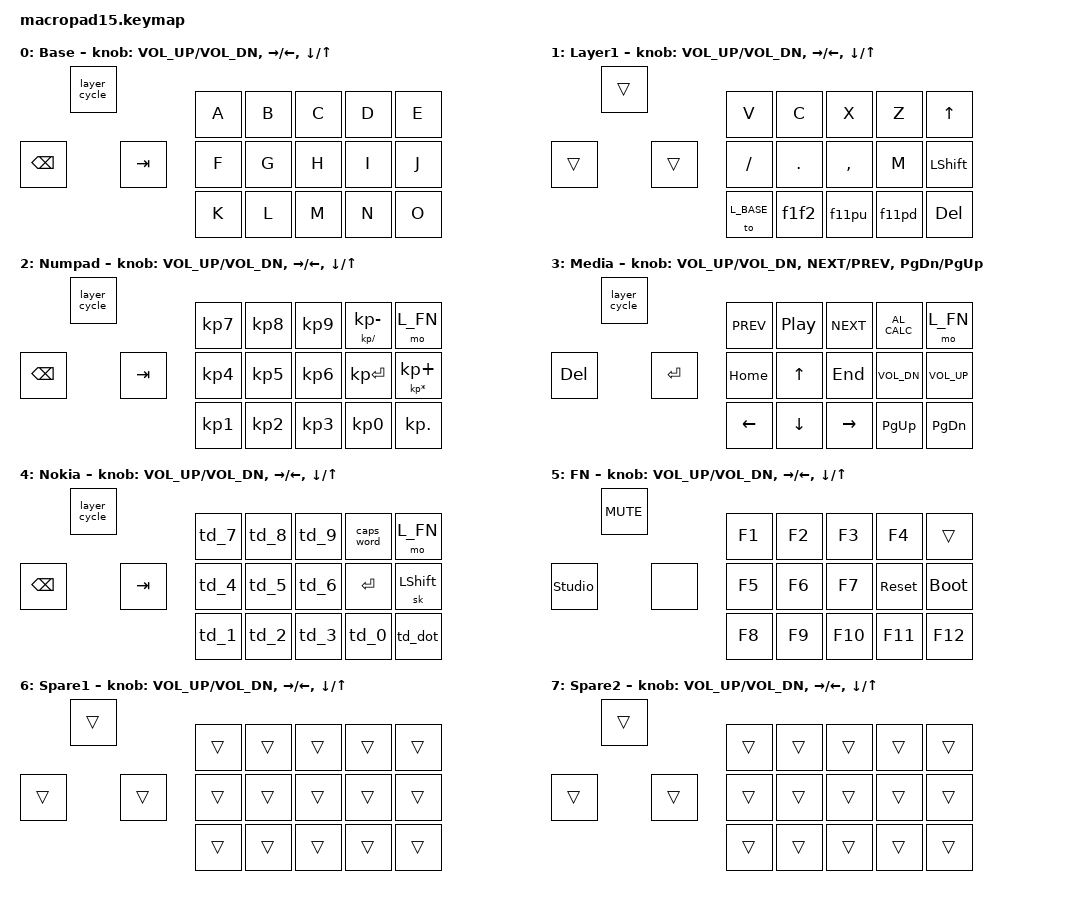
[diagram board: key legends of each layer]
#include <behaviors.dtsi>
#include <dt-bindings/zmk/keys.h>

/*
 * Macropad15 - 15 phím + 3 encoder + OLED - Pro Micro RP2040 (chỉ USB).
 * Port từ bản Vial "macropad15oledtest".
 *
 * Mỗi layer có 18 binding: 15 phím (P0..P14, đọc theo hàng) + nút nhấn ENC1, ENC2, ENC3.
 *
 *            (ENC1)     P0  P1  P2  P3  P4
 *       (ENC2)  (ENC3)  P5  P6  P7  P8  P9
 *                       P10 P11 P12 P13 P14
 *
 * Layer: 0 Base | 1 Layer1 | 2 Numpad | 3 Media | 4 Nokia | 5 FN (giữ phím FN) | 6, 7 trống
 *
 * Nhấn ENC1 (&layer_cycle) = đổi layer nền: Base -> Numpad -> Media -> Nokia -> Base ...
 * ENC2 = Backspace, ENC3 = Tab (Media: Delete / Enter).
 * Xoay: ENC1 = âm lượng, ENC2 = trái/phải, ENC3 = lên/xuống (Media: bài trước/sau, PgUp/PgDn).
 *
 * Layer 0 là layer thử phím (A..O). Layer 1 (giống bản ESP32-C3) chỉ vào được bằng &to 1
 * (đặt vào phím nào đó trong Studio/keymap nếu cần); từ Layer 1 về Base bằng &to 0.
 *
 * FN (layer 5): F1..F12, reset, bootloader, mute. Giữ FN ở góc trên-phải của layer 2-4.
 * &studio_unlock đặt ở nút nhấn ENC2 của layer FN (thay cho tổ hợp Unlock của Vial).
 */

#define L_BASE  0
#define L_FN1   1
#define L_NUM   2
#define L_MEDIA 3
#define L_NOKIA 4
#define L_FN    5

/*
 * Nokia multi-tap: bấm liên tiếp CÙNG phím trong 600ms để đổi ký tự.
 * Ký tự hiện ngay (gửi Backspace + ký tự mới khi đổi).
 */
#define MULTITAP(id, title, ...)                            \
    id: id {                                             \
        compatible = "zmk,behavior-multitap";                \
        #binding-cells = <0>;                                \
        display-name = title;                                \
        tapping-term-ms = <600>;                             \
        keys = <__VA_ARGS__>;                                \
    };

/ {
    behaviors {
        MULTITAP(td_1, "Nokia 1abc", N1 A B C)
        MULTITAP(td_2, "Nokia 2def", N2 D E F)
        MULTITAP(td_3, "Nokia 3ghi", N3 G H I)
        MULTITAP(td_4, "Nokia 4jkl", N4 J K L)
        MULTITAP(td_5, "Nokia 5mno", N5 M N O)
        MULTITAP(td_6, "Nokia 6pqr", N6 P Q R)
        MULTITAP(td_7, "Nokia 7stu", N7 S T U)
        MULTITAP(td_8, "Nokia 8vwx", N8 V W X)
        MULTITAP(td_9, "Nokia 9yz", N9 Y Z)
        MULTITAP(td_0, "Nokia 0 space", N0 SPACE)
        MULTITAP(td_dot, "Nokia . , ? !", DOT COMMA QMARK EXCL)

        /*
         * Tap / giữ: dùng 1 phím cho 2 toán tử.
         * Cú pháp: &ht_op <phím khi GIỮ> <phím khi NHẤN NHANH>
         *   &ht_op KP_SLASH KP_MINUS    -> nhấn = "-", giữ = "/"
         *   &ht_op KP_MULTIPLY KP_PLUS  -> nhấn = "+", giữ = "*"
         */
        ht_op: ht_op {
            compatible = "zmk,behavior-hold-tap";
            #binding-cells = <2>;
            display-name = "Tap/Hold Operator";
            flavor = "tap-preferred";
            tapping-term-ms = <200>;
            bindings = <&kp>, <&kp>;
        };

        /* &layer_cycle : Base -> Numpad -> Media -> Nokia -> Base ... (bỏ qua Layer1 và FN) */
        layer_cycle: layer_cycle {
            compatible = "zmk,behavior-layer-cycle";
            #binding-cells = <0>;
            display-name = "Layer Cycle";
            cycle-layers = <L_BASE L_NUM L_MEDIA L_NOKIA>;
        };
    };

    /* Chuỗi phím bấm lần lượt (không giữ cùng lúc), giống bản C3 */
    macros {
        f1f2: f1f2 {
            compatible = "zmk,behavior-macro";
            #binding-cells = <0>;
            display-name = "F1 then F2";
            wait-ms = <10>;
            tap-ms = <10>;
            bindings = <&macro_tap &kp F1 &kp F2>;
        };

        f11pu: f11pu {
            compatible = "zmk,behavior-macro";
            #binding-cells = <0>;
            display-name = "F11 then PgUp";
            wait-ms = <10>;
            tap-ms = <10>;
            bindings = <&macro_tap &kp F11 &kp PG_UP>;
        };

        f11pd: f11pd {
            compatible = "zmk,behavior-macro";
            #binding-cells = <0>;
            display-name = "F11 then PgDn";
            wait-ms = <10>;
            tap-ms = <10>;
            bindings = <&macro_tap &kp F11 &kp PG_DN>;
        };
    };

    keymap {
        compatible = "zmk,keymap";

        base_layer {
            display-name = "Base";
            bindings = <
                &kp A  &kp B  &kp C  &kp D  &kp E
                &kp F  &kp G  &kp H  &kp I  &kp J
                &kp K  &kp L  &kp M  &kp N  &kp O
                &layer_cycle  &kp BSPC  &kp TAB
            >;
            sensor-bindings = <
                &inc_dec_kp C_VOL_UP C_VOL_DN
                &inc_dec_kp RIGHT LEFT
                &inc_dec_kp DOWN UP
            >;
        };

        /* Giống bản ESP32-C3. Nút nhấn encoder trong suốt -> rơi xuống Base (cycle/BSPC/TAB). */
        layer1 {
            display-name = "Layer1";
            bindings = <
                &kp V       &kp C     &kp X     &kp Z     &kp UP
                &kp SLASH   &kp DOT   &kp COMMA &kp M     &kp LSHFT
                &to L_BASE  &f1f2     &f11pu    &f11pd    &kp DEL
                &trans  &trans  &trans
            >;
            sensor-bindings = <
                &inc_dec_kp C_VOL_UP C_VOL_DN
                &inc_dec_kp RIGHT LEFT
                &inc_dec_kp DOWN UP
            >;
        };

        numpad_layer {
            display-name = "Numpad";
            bindings = <
                &kp KP_N7  &kp KP_N8  &kp KP_N9  &ht_op KP_SLASH KP_MINUS     &mo L_FN
                &kp KP_N4  &kp KP_N5  &kp KP_N6  &kp KP_ENTER                 &ht_op KP_MULTIPLY KP_PLUS
                &kp KP_N1  &kp KP_N2  &kp KP_N3  &kp KP_N0                    &kp KP_DOT
                &layer_cycle  &kp BSPC  &kp TAB
            >;
            sensor-bindings = <
                &inc_dec_kp C_VOL_UP C_VOL_DN
                &inc_dec_kp RIGHT LEFT
                &inc_dec_kp DOWN UP
            >;
        };

        media_layer {
            display-name = "Media";
            bindings = <
                &kp C_PREV  &kp C_PP    &kp C_NEXT  &kp C_AL_CALC  &mo L_FN
                &kp HOME    &kp UP      &kp END     &kp C_VOL_DN   &kp C_VOL_UP
                &kp LEFT    &kp DOWN    &kp RIGHT   &kp PG_UP      &kp PG_DN
                &layer_cycle  &kp DEL  &kp RET
            >;
            sensor-bindings = <
                &inc_dec_kp C_VOL_UP C_VOL_DN
                &inc_dec_kp C_NEXT C_PREV
                &inc_dec_kp PG_DN PG_UP
            >;
        };

        nokia_layer {
            display-name = "Nokia";
            bindings = <
                &td_7  &td_8  &td_9  &caps_word  &mo L_FN
                &td_4  &td_5  &td_6  &kp RET     &sk LSHFT
                &td_1  &td_2  &td_3  &td_0       &td_dot
                &layer_cycle  &kp BSPC  &kp TAB
            >;
            sensor-bindings = <
                &inc_dec_kp C_VOL_UP C_VOL_DN
                &inc_dec_kp RIGHT LEFT
                &inc_dec_kp DOWN UP
            >;
        };

        fn_layer {
            display-name = "FN";
            bindings = <
                &kp F1  &kp F2  &kp F3   &kp F4       &trans
                &kp F5  &kp F6  &kp F7   &sys_reset   &bootloader
                &kp F8  &kp F9  &kp F10  &kp F11      &kp F12
                &kp C_MUTE  &studio_unlock  &none
            >;
            sensor-bindings = <
                &inc_dec_kp C_VOL_UP C_VOL_DN
                &inc_dec_kp RIGHT LEFT
                &inc_dec_kp DOWN UP
            >;
        };

        /* Layer 6, 7: trống, để dùng thêm trong Studio */
        spare_layer_1 {
            display-name = "Spare1";
            bindings = <
                &trans  &trans  &trans  &trans  &trans
                &trans  &trans  &trans  &trans  &trans
                &trans  &trans  &trans  &trans  &trans
                &trans  &trans  &trans
            >;
            sensor-bindings = <
                &inc_dec_kp C_VOL_UP C_VOL_DN
                &inc_dec_kp RIGHT LEFT
                &inc_dec_kp DOWN UP
            >;
        };

        spare_layer_2 {
            display-name = "Spare2";
            bindings = <
                &trans  &trans  &trans  &trans  &trans
                &trans  &trans  &trans  &trans  &trans
                &trans  &trans  &trans  &trans  &trans
                &trans  &trans  &trans
            >;
            sensor-bindings = <
                &inc_dec_kp C_VOL_UP C_VOL_DN
                &inc_dec_kp RIGHT LEFT
                &inc_dec_kp DOWN UP
            >;
        };
    };
};
